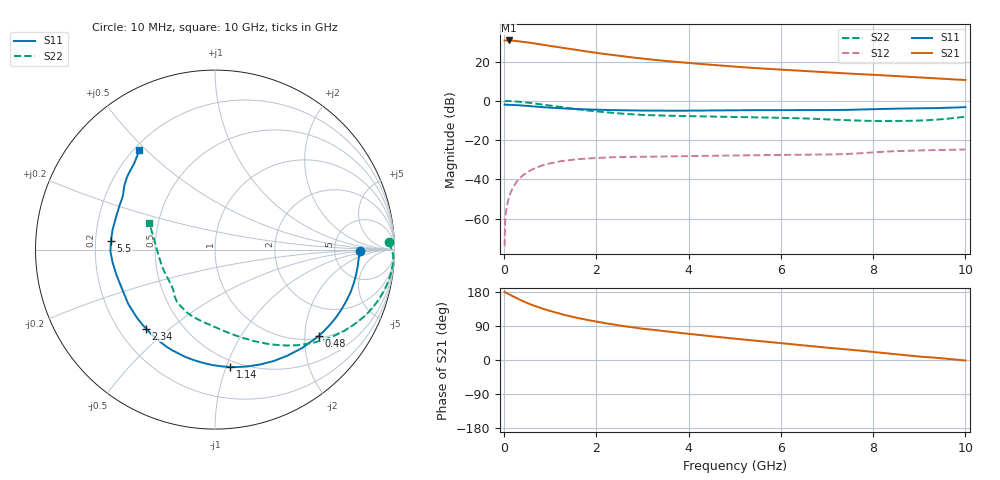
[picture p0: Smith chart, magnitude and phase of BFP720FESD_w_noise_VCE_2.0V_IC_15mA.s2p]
! Infineon Technologies  Discrete & RF Semiconductors
! BFP720FESD
! VCE =  2.0 V,  IC =  15 mA
! Common Emitter S-Parameters:  Jan 2016
# GHz  S  MA  R  50
!  f  S11  S21  S12  S22
! GHz  MAG  ANG  MAG  ANG  MAG  ANG  MAG  ANG
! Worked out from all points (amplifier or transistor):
!   233 points, 10 MHz to 10 GHz, reference 50 ohm
!   highest |S21| = 30.8 dB at 100 MHz (marker M1)
!   |S21| within 3 dB of that: start of sweep to 1.063 GHz
!   unconditionally stable (mu >= 1): start of sweep to 13.21 MHz; 5.972 GHz to end of sweep
!   at 200 MHz: K = 0.06, MSG = 37.2 dB, |S12| = -43.7 dB
!   at 1.74 GHz: K = 0.37, MSG = 27.4 dB, |S12| = -29.4 dB
!   at 10 GHz: K = 1.23, MAG = 14.8 dB, |S12| = -24.8 dB
!   lowest NFmin = 0.82 dB at 450 MHz
!   S11 on the Smith chart (normalised r, x): 10 MHz: 9.52, -0.31; 480 MHz: 1.07, -2.35; 1.14 GHz: 0.45, -1.03; 2.34 GHz: 0.31, -0.42; 5.5 GHz: 0.26, +0.04; 10 GHz: 0.22, +0.47
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0.01  0.81 -0.4  34.55 179.9  0.0002 0.6  0.9701 2.4
0.025  0.8039 -2.3  34.59 178.4  0.001 94.9  0.9887 -0.7
0.1  0.7995 -8.7  34.71 174.0  0.0033 85.1  0.9938 -4.9
0.2  0.7921 -17.3  34.27 167.5  0.0065 80.7  0.9819 -10.3
0.3  0.7791 -25.6  33.39 161.3  0.0096 76.6  0.9622 -15.2
0.48  0.7511 -39.7  31.33 151.5  0.0147 69.5  0.9154 -23.4
0.62  0.728 -49.9  29.64 144.6  0.0183 64.5  0.8739 -29.1
0.8  0.7017 -62.2  27.45 136.9  0.0222 58.7  0.8204 -35.9
0.96  0.6791 -72.3  25.68 130.8  0.0251 54.0  0.7729 -41.3
1.14  0.6587 -82.7  23.77 124.5  0.028 49.5  0.7223 -47.0
1.4  0.6338 -96.4  21.28 116.2  0.0311 43.8  0.6548 -54.6
1.68  0.6146 -108.6  19 108.7  0.0334 38.8  0.5954 -61.5
2  0.599 -120.2  16.76 101.3  0.0354 34.5  0.5421 -68.5
2.34  0.5845 -131.1  14.86 94.3  0.0368 30.9  0.4976 -75.5
2.8  0.5722 -143.6  12.74 85.9  0.0377 27.1  0.4539 -84.2
3.4  0.5625 -155.5  10.7 77.2  0.0384 25.2  0.4255 -91.8
4.2  0.5688 -168.2  8.858 66.5  0.0397 23.8  0.4065 -100.2
5.1  0.582 179.9  7.332 55.1  0.0409 23.1  0.3898 -110.3
5.5  0.5821 175.2  6.799 50.3  0.0415 23.1  0.3832 -114.2
6.8  0.5828 157.8  5.53 35.0  0.0428 24.3  0.3481 -129.5
8.4  0.6329 141.1  4.37 16.3  0.052 27.9  0.3081 -157.4
10  0.6952 127.4  3.416 -1.4  0.0578 22.2  0.3954 158.0
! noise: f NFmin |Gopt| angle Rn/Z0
0.45  0.82  0.14  0  0.11
2.4  0.85  0.09  25  0.13
5.5  1  0.23  133  0.09
10  1.44  0.27  -137  0.13
